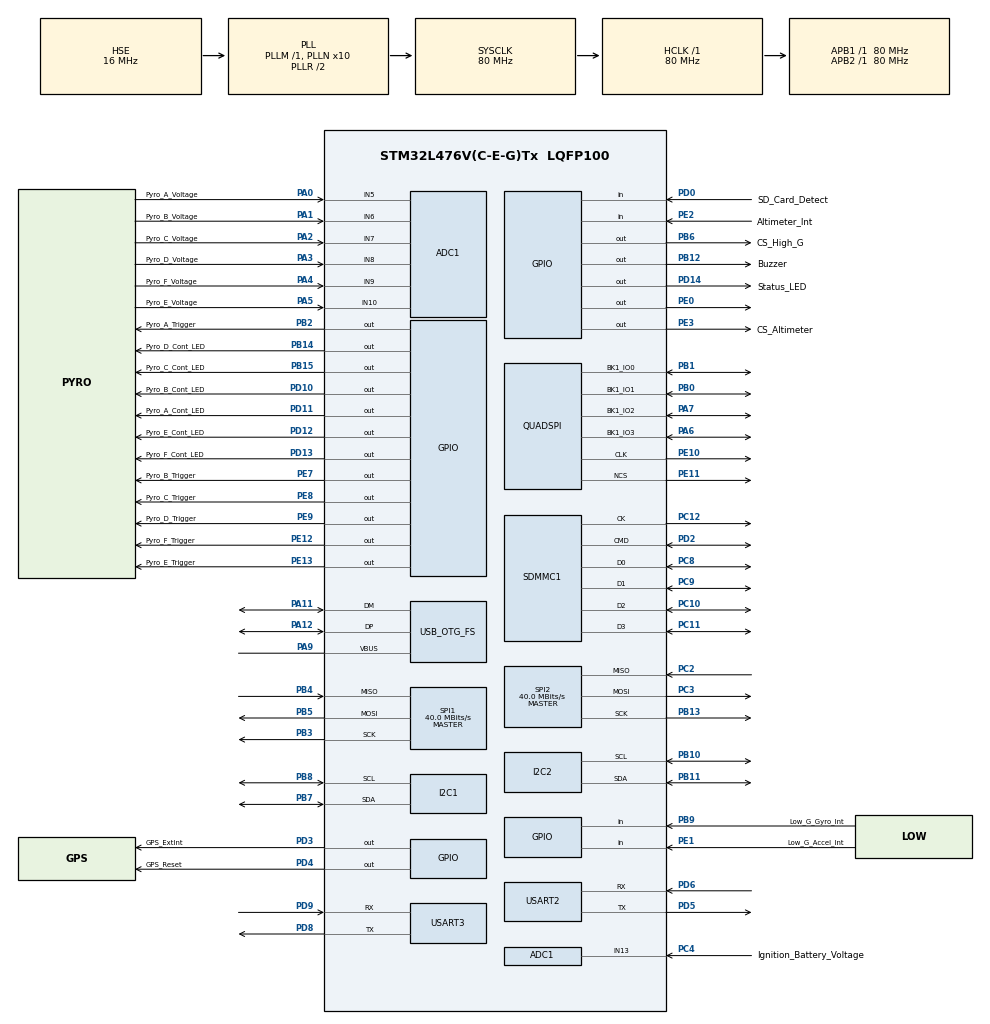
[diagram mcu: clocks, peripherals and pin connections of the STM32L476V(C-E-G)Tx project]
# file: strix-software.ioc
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ADC1.Channel-1\#ChannelRegularConversion=ADC_CHANNEL_5
ADC1.NbrOfConversionFlag=1
ADC1.OffsetNumber-1\#ChannelRegularConversion=ADC_OFFSET_NONE
ADC1.Rank-1\#ChannelRegularConversion=1
ADC1.SamplingTime-1\#ChannelRegularConversion=ADC_SAMPLETIME_2CYCLES_5
ADC1.master=1
FATFS.BSP.number=1
FATFS0.BSP.STBoard=false
FATFS0.BSP.api=Unknown
FATFS0.BSP.instance=PD0
FATFS0.BSP.ip=GPIO
FATFS0.BSP.mode=Input
FATFS0.BSP.name=Detect_SDIO
FATFS0.BSP.solution=PD0
FREERTOS.Tasks01=Status,16,128,StartStatus,Default,NULL,Dynamic,NULL,NULL;USBCom,24,128,StartUSBCom,Default,NULL,Dynamic,NULL,NULL
FREERTOS.configUSE_NEWLIB_REENTRANT=1
I2C1.Timing=0x10909CEC
I2C2.Timing=0x10909CEC
Mcu.Family=STM32L4
Mcu.Name=STM32L476V(C-E-G)Tx
Mcu.Package=LQFP100
NVIC.OTG_FS_IRQn=true\:5\:0\:false\:false\:true\:true\:false\:true\:true
NVIC.PriorityGroup=NVIC_PRIORITYGROUP_4
NVIC.TIM6_DAC_IRQn=true\:15\:0\:false\:false\:true\:false\:false\:true\:true
NVIC.TimeBase=TIM6_DAC_IRQn
NVIC.TimeBaseIP=TIM6
PA0.GPIO_Label=Pyro_A_Voltage
PA0.Signal=ADCx_IN5
PA1.GPIO_Label=Pyro_B_Voltage
PA1.Signal=ADCx_IN6
PA11.Mode=Device_Only
PA11.Signal=USB_OTG_FS_DM
PA12.Mode=Device_Only
PA12.Signal=USB_OTG_FS_DP
PA13\ (JTMS-SWDIO).Mode=Serial_Wire
PA13\ (JTMS-SWDIO).Signal=SYS_JTMS-SWDIO
PA14\ (JTCK-SWCLK).Mode=Serial_Wire
PA14\ (JTCK-SWCLK).Signal=SYS_JTCK-SWCLK
PA2.GPIO_Label=Pyro_C_Voltage
PA2.Signal=ADCx_IN7
PA3.GPIO_Label=Pyro_D_Voltage
PA3.Signal=ADCx_IN8
PA4.GPIO_Label=Pyro_F_Voltage
PA4.Signal=ADCx_IN9
PA5.GPIO_Label=Pyro_E_Voltage
PA5.Signal=ADCx_IN10
PA6.Mode=Single Bank
PA6.Signal=QUADSPI_BK1_IO3
PA7.Mode=Single Bank
PA7.Signal=QUADSPI_BK1_IO2
PA9.Mode=Activate_VBUS
PA9.Signal=USB_OTG_FS_VBUS
PB0.Mode=Single Bank
PB0.Signal=QUADSPI_BK1_IO1
PB1.Mode=Single Bank
PB1.Signal=QUADSPI_BK1_IO0
PB10.Mode=I2C
PB10.Signal=I2C2_SCL
PB11.Mode=I2C
PB11.Signal=I2C2_SDA
PB12.GPIO_Label=Buzzer
PB12.Signal=GPIO_Output
PB13.Mode=Full_Duplex_Master
PB13.Signal=SPI2_SCK
PB14.GPIO_Label=Pyro_D_Cont_LED
PB14.Signal=GPIO_Output
PB15.GPIO_Label=Pyro_C_Cont_LED
PB15.Signal=GPIO_Output
PB2.GPIO_Label=Pyro_A_Trigger
PB2.Signal=GPIO_Output
PB3\ (JTDO-TRACESWO).Mode=Full_Duplex_Master
PB3\ (JTDO-TRACESWO).Signal=SPI1_SCK
PB4\ (NJTRST).Mode=Full_Duplex_Master
PB4\ (NJTRST).Signal=SPI1_MISO
PB5.Mode=Full_Duplex_Master
PB5.Signal=SPI1_MOSI
PB6.GPIO_Label=CS_High_G
PB6.Signal=GPIO_Output
PB7.Mode=I2C
PB7.Signal=I2C1_SDA
PB8.Mode=I2C
PB8.Signal=I2C1_SCL
PB9.GPIO_Label=Low_G_Gyro_Int
PB9.Signal=GPIO_Input
PC10.Mode=SD_4_bits_Wide_bus
PC10.Signal=SDMMC1_D2
PC11.Mode=SD_4_bits_Wide_bus
PC11.Signal=SDMMC1_D3
PC12.Mode=SD_4_bits_Wide_bus
PC12.Signal=SDMMC1_CK
PC2.Mode=Full_Duplex_Master
PC2.Signal=SPI2_MISO
PC3.Mode=Full_Duplex_Master
PC3.Signal=SPI2_MOSI
PC4.GPIO_Label=Ignition_Battery_Voltage
PC4.Signal=ADCx_IN13
PC8.Mode=SD_4_bits_Wide_bus
PC8.Signal=SDMMC1_D0
PC9.Mode=SD_4_bits_Wide_bus
PC9.Signal=SDMMC1_D1
PD0.GPIO_Label=SD_Card_Detect
PD0.Signal=GPIO_Input
PD10.GPIO_Label=Pyro_B_Cont_LED
PD10.Signal=GPIO_Output
PD11.GPIO_Label=Pyro_A_Cont_LED
PD11.Signal=GPIO_Output
PD12.GPIO_Label=Pyro_E_Cont_LED
PD12.Signal=GPIO_Output
PD13.GPIO_Label=Pyro_F_Cont_LED
PD13.Signal=GPIO_Output
PD14.GPIO_Label=Status_LED
PD14.GPIO_PuPd=GPIO_PULLDOWN
PD14.PinState=GPIO_PIN_SET
PD14.Signal=GPIO_Output
PD2.Mode=SD_4_bits_Wide_bus
PD2.Signal=SDMMC1_CMD
PD3.GPIO_Label=GPS_ExtInt
PD3.Signal=GPIO_Output
PD4.GPIO_Label=GPS_Reset
PD4.Signal=GPIO_Output
PD5.Mode=Asynchronous
PD5.Signal=USART2_TX
PD6.Mode=Asynchronous
PD6.Signal=USART2_RX
PD8.Mode=Asynchronous
PD8.Signal=USART3_TX
PD9.Mode=Asynchronous
PD9.Signal=USART3_RX
PE0.Signal=GPIO_Output
PE1.GPIO_Label=Low_G_Accel_Int
PE1.Signal=GPIO_Input
PE10.Mode=Single Bank
PE10.Signal=QUADSPI_CLK
PE11.Mode=Single Bank
PE11.Signal=QUADSPI_NCS
PE12.GPIO_Label=Pyro_F_Trigger
PE12.Signal=GPIO_Output
PE13.GPIO_Label=Pyro_E_Trigger
PE13.Signal=GPIO_Output
PE2.GPIO_Label=Altimeter_Int
PE2.Signal=GPIO_Input
PE3.GPIO_Label=CS_Altimeter
PE3.Signal=GPIO_Output
PE7.GPIO_Label=Pyro_B_Trigger
PE7.Signal=GPIO_Output
PE8.GPIO_Label=Pyro_C_Trigger
PE8.Signal=GPIO_Output
PE9.GPIO_Label=Pyro_D_Trigger
PE9.Signal=GPIO_Output
PH0-OSC_IN\ (PH0).Mode=HSE-External-Oscillator
PH0-OSC_IN\ (PH0).Signal=RCC_OSC_IN
PH1-OSC_OUT\ (PH1).Mode=HSE-External-Oscillator
PH1-OSC_OUT\ (PH1).Signal=RCC_OSC_OUT
ProjectManager.HeapSize=0x200
ProjectManager.StackSize=0x400
ProjectManager.TargetToolchain=STM32CubeIDE
RCC.ADCFreq_Value=48000000
RCC.AHBFreq_Value=80000000
RCC.APB1Freq_Value=80000000
RCC.APB1TimFreq_Value=80000000
RCC.APB2Freq_Value=80000000
RCC.APB2TimFreq_Value=80000000
RCC.CortexFreq_Value=80000000
RCC.HCLKFreq_Value=80000000
RCC.HSE_VALUE=16000000
RCC.HSI_VALUE=16000000
RCC.LSE_VALUE=32768
RCC.MSI_VALUE=4000000
RCC.PLLN=10
RCC.PLLSAI1N=12
RCC.PLLSAI1Q=RCC_PLLQ_DIV4
RCC.PLLSAI1R=RCC_PLLR_DIV4
RCC.PLLSourceVirtual=RCC_PLLSOURCE_HSE
RCC.SYSCLKFreq_VALUE=80000000
RCC.SYSCLKSource=RCC_SYSCLKSOURCE_PLLCLK
RCC.USBFreq_Value=48000000
RCC.VCOOutputFreq_Value=160000000
SH.ADCx_IN10.0=ADC1_IN10,IN10-Single-Ended
SH.ADCx_IN13.0=ADC1_IN13,IN13-Single-Ended
SH.ADCx_IN5.0=ADC1_IN5,IN5-Single-Ended
SH.ADCx_IN6.0=ADC1_IN6,IN6-Single-Ended
SH.ADCx_IN7.0=ADC1_IN7,IN7-Single-Ended
SH.ADCx_IN8.0=ADC1_IN8,IN8-Single-Ended
SH.ADCx_IN9.0=ADC1_IN9,IN9-Single-Ended
SPI1.BaudRatePrescaler=SPI_BAUDRATEPRESCALER_2
SPI1.CalculateBaudRate=40.0 MBits/s
SPI1.Direction=SPI_DIRECTION_2LINES
SPI1.Mode=SPI_MODE_MASTER
SPI1.VirtualType=VM_MASTER
SPI2.BaudRatePrescaler=SPI_BAUDRATEPRESCALER_2
SPI2.CalculateBaudRate=40.0 MBits/s
SPI2.Direction=SPI_DIRECTION_2LINES
SPI2.Mode=SPI_MODE_MASTER
SPI2.VirtualType=VM_MASTER
USART2.VirtualMode-Asynchronous=VM_ASYNC
USART3.VirtualMode-Asynchronous=VM_ASYNC
USB_DEVICE.CLASS_NAME_FS=CDC
USB_DEVICE.VirtualMode=Cdc
USB_DEVICE.VirtualModeFS=Cdc_FS
USB_OTG_FS.VirtualMode=Device_Only
VP_FATFS_VS_SDIO.Mode=SDIO
VP_FREERTOS_VS_CMSIS_V2.Mode=CMSIS_V2
VP_SYS_VS_tim6.Mode=TIM6
VP_USB_DEVICE_VS_USB_DEVICE_CDC_FS.Mode=CDC_FS
board=custom

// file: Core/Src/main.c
/* USER CODE BEGIN Header */
/**
  ******************************************************************************
  * @file           : main.c
  * @brief          : Main program body
  ******************************************************************************
  * @attention
  *
  * Copyright (c) 2023 STMicroelectronics.
  * All rights reserved.
  *
  * This software is licensed under terms that can be found in the LICENSE file
  * in the root directory of this software component.
  * If no LICENSE file comes with this software, it is provided AS-IS.
  *
  ******************************************************************************
  */
/* USER CODE END Header */
#include "main.h"
#include "cmsis_os.h"
#include "fatfs.h"
#include "usb_device.h"

/* USER CODE BEGIN Includes */
#include "usbd_cdc_if.h"
#include "string.h"
#include "stdbool.h"
//include driver files for our sensors and data storage
#include "flash_driver.h"
#include "file_handling.h"
/* USER CODE END Includes */

ADC_HandleTypeDef hadc1;

I2C_HandleTypeDef hi2c1;
I2C_HandleTypeDef hi2c2;

QSPI_HandleTypeDef hqspi;

SD_HandleTypeDef hsd1;

SPI_HandleTypeDef hspi1;
SPI_HandleTypeDef hspi2;

UART_HandleTypeDef huart2;
UART_HandleTypeDef huart3;

/* Definitions for Status */
osThreadId_t StatusHandle;
const osThreadAttr_t Status_attributes = {
  .name = "Status",
  .stack_size = 128 * 4,
  .priority = (osPriority_t) osPriorityBelowNormal,
};
/* Definitions for USBCom */
osThreadId_t USBComHandle;
const osThreadAttr_t USBCom_attributes = {
  .name = "USBCom",
  .stack_size = 128 * 4,
  .priority = (osPriority_t) osPriorityNormal,
};

void SystemClock_Config(void);
void PeriphCommonClock_Config(void);
static void MX_GPIO_Init(void);
static void MX_QUADSPI_Init(void);
static void MX_SDMMC1_SD_Init(void);
static void MX_SPI1_Init(void);
static void MX_ADC1_Init(void);
static void MX_I2C1_Init(void);
static void MX_I2C2_Init(void);
static void MX_SPI2_Init(void);
static void MX_USART2_UART_Init(void);
static void MX_USART3_UART_Init(void);
void StartStatus(void *argument);
void StartUSBCom(void *argument);

int main(void)
{

  /* MCU Configuration--------------------------------------------------------*/

  /* Reset of all peripherals, Initializes the Flash interface and the Systick. */
  HAL_Init();

  /* Configure the system clock */
  SystemClock_Config();

/* Configure the peripherals common clocks */
  PeriphCommonClock_Config();

  /* Initialize all configured peripherals */
  MX_GPIO_Init();
  MX_QUADSPI_Init();
  MX_SDMMC1_SD_Init();
  MX_SPI1_Init();
  MX_ADC1_Init();
  MX_I2C1_Init();
  MX_I2C2_Init();
  MX_SPI2_Init();
  MX_USART2_UART_Init();
  MX_USART3_UART_Init();
  MX_FATFS_Init();
  /* USER CODE BEGIN 2 */
  /* init code for USB_DEVICE */
  MX_USB_DEVICE_Init();

  /* USER CODE END 2 */

  /* Init scheduler */
  osKernelInitialize();

  /* Create the thread(s) */
  /* creation of Status */
  StatusHandle = osThreadNew(StartStatus, NULL, &Status_attributes);

  /* creation of USBCom */
  USBComHandle = osThreadNew(StartUSBCom, NULL, &USBCom_attributes);

  /* Start scheduler */
  osKernelStart();

  /* We should never get here as control is now taken by the scheduler */
  /* Infinite loop */
  while (1)
  {

  }
}

void SystemClock_Config(void)
{
  RCC_OscInitTypeDef RCC_OscInitStruct = {0};
  RCC_ClkInitTypeDef RCC_ClkInitStruct = {0};

  /** Configure the main internal regulator output voltage
  */
  if (HAL_PWREx_ControlVoltageScaling(PWR_REGULATOR_VOLTAGE_SCALE1) != HAL_OK)
  {
    Error_Handler();
  }

  /** Initializes the RCC Oscillators according to the specified parameters
  * in the RCC_OscInitTypeDef structure.
  */
  RCC_OscInitStruct.OscillatorType = RCC_OSCILLATORTYPE_HSE;
  RCC_OscInitStruct.HSEState = RCC_HSE_ON;
  RCC_OscInitStruct.PLL.PLLState = RCC_PLL_ON;
  RCC_OscInitStruct.PLL.PLLSource = RCC_PLLSOURCE_HSE;
  RCC_OscInitStruct.PLL.PLLM = 1;
  RCC_OscInitStruct.PLL.PLLN = 10;
  RCC_OscInitStruct.PLL.PLLP = RCC_PLLP_DIV7;
  RCC_OscInitStruct.PLL.PLLQ = RCC_PLLQ_DIV2;
  RCC_OscInitStruct.PLL.PLLR = RCC_PLLR_DIV2;
  if (HAL_RCC_OscConfig(&RCC_OscInitStruct) != HAL_OK)
  {
    Error_Handler();
  }

  /** Initializes the CPU, AHB and APB buses clocks
  */
  RCC_ClkInitStruct.ClockType = RCC_CLOCKTYPE_HCLK|RCC_CLOCKTYPE_SYSCLK
                              |RCC_CLOCKTYPE_PCLK1|RCC_CLOCKTYPE_PCLK2;
  RCC_ClkInitStruct.SYSCLKSource = RCC_SYSCLKSOURCE_PLLCLK;
  RCC_ClkInitStruct.AHBCLKDivider = RCC_SYSCLK_DIV1;
  RCC_ClkInitStruct.APB1CLKDivider = RCC_HCLK_DIV1;
  RCC_ClkInitStruct.APB2CLKDivider = RCC_HCLK_DIV1;

  if (HAL_RCC_ClockConfig(&RCC_ClkInitStruct, FLASH_LATENCY_4) != HAL_OK)
  {
    Error_Handler();
  }
}

void PeriphCommonClock_Config(void)
{
  RCC_PeriphCLKInitTypeDef PeriphClkInit = {0};

  /** Initializes the peripherals clock
  */
  PeriphClkInit.PeriphClockSelection = RCC_PERIPHCLK_USB|RCC_PERIPHCLK_SDMMC1
                              |RCC_PERIPHCLK_ADC;
  PeriphClkInit.AdcClockSelection = RCC_ADCCLKSOURCE_PLLSAI1;
  PeriphClkInit.UsbClockSelection = RCC_USBCLKSOURCE_PLLSAI1;
  PeriphClkInit.Sdmmc1ClockSelection = RCC_SDMMC1CLKSOURCE_PLLSAI1;
  PeriphClkInit.PLLSAI1.PLLSAI1Source = RCC_PLLSOURCE_HSE;
  PeriphClkInit.PLLSAI1.PLLSAI1M = 1;
  PeriphClkInit.PLLSAI1.PLLSAI1N = 12;
  PeriphClkInit.PLLSAI1.PLLSAI1P = RCC_PLLP_DIV7;
  PeriphClkInit.PLLSAI1.PLLSAI1Q = RCC_PLLQ_DIV4;
  PeriphClkInit.PLLSAI1.PLLSAI1R = RCC_PLLR_DIV4;
  PeriphClkInit.PLLSAI1.PLLSAI1ClockOut = RCC_PLLSAI1_48M2CLK|RCC_PLLSAI1_ADC1CLK;
  if (HAL_RCCEx_PeriphCLKConfig(&PeriphClkInit) != HAL_OK)
  {
    Error_Handler();
  }
}

static void MX_ADC1_Init(void)
{

  ADC_MultiModeTypeDef multimode = {0};
  ADC_ChannelConfTypeDef sConfig = {0};

  /** Common config
  */
  hadc1.Instance = ADC1;
  hadc1.Init.ClockPrescaler = ADC_CLOCK_ASYNC_DIV1;
  hadc1.Init.Resolution = ADC_RESOLUTION_12B;
  hadc1.Init.DataAlign = ADC_DATAALIGN_RIGHT;
  hadc1.Init.ScanConvMode = ADC_SCAN_DISABLE;
  hadc1.Init.EOCSelection = ADC_EOC_SINGLE_CONV;
  hadc1.Init.LowPowerAutoWait = DISABLE;
  hadc1.Init.ContinuousConvMode = DISABLE;
  hadc1.Init.NbrOfConversion = 1;
  hadc1.Init.DiscontinuousConvMode = DISABLE;
  hadc1.Init.ExternalTrigConv = ADC_SOFTWARE_START;
  hadc1.Init.ExternalTrigConvEdge = ADC_EXTERNALTRIGCONVEDGE_NONE;
  hadc1.Init.DMAContinuousRequests = DISABLE;
  hadc1.Init.Overrun = ADC_OVR_DATA_PRESERVED;
  hadc1.Init.OversamplingMode = DISABLE;
  if (HAL_ADC_Init(&hadc1) != HAL_OK)
  {
    Error_Handler();
  }

  /** Configure the ADC multi-mode
  */
  multimode.Mode = ADC_MODE_INDEPENDENT;
  if (HAL_ADCEx_MultiModeConfigChannel(&hadc1, &multimode) != HAL_OK)
  {
    Error_Handler();
  }

  /** Configure Regular Channel
  */
  sConfig.Channel = ADC_CHANNEL_5;
  sConfig.Rank = ADC_REGULAR_RANK_1;
  sConfig.SamplingTime = ADC_SAMPLETIME_2CYCLES_5;
  sConfig.SingleDiff = ADC_SINGLE_ENDED;
  sConfig.OffsetNumber = ADC_OFFSET_NONE;
  sConfig.Offset = 0;
  if (HAL_ADC_ConfigChannel(&hadc1, &sConfig) != HAL_OK)
  {
    Error_Handler();
  }

}

static void MX_I2C1_Init(void)
{

  hi2c1.Instance = I2C1;
  hi2c1.Init.Timing = 0x10909CEC;
  hi2c1.Init.OwnAddress1 = 0;
  hi2c1.Init.AddressingMode = I2C_ADDRESSINGMODE_7BIT;
  hi2c1.Init.DualAddressMode = I2C_DUALADDRESS_DISABLE;
  hi2c1.Init.OwnAddress2 = 0;
  hi2c1.Init.OwnAddress2Masks = I2C_OA2_NOMASK;
  hi2c1.Init.GeneralCallMode = I2C_GENERALCALL_DISABLE;
  hi2c1.Init.NoStretchMode = I2C_NOSTRETCH_DISABLE;
  if (HAL_I2C_Init(&hi2c1) != HAL_OK)
  {
    Error_Handler();
  }

  /** Configure Analogue filter
  */
  if (HAL_I2CEx_ConfigAnalogFilter(&hi2c1, I2C_ANALOGFILTER_ENABLE) != HAL_OK)
  {
    Error_Handler();
  }

  /** Configure Digital filter
  */
  if (HAL_I2CEx_ConfigDigitalFilter(&hi2c1, 0) != HAL_OK)
  {
    Error_Handler();
  }

}

static void MX_I2C2_Init(void)
{

  hi2c2.Instance = I2C2;
  hi2c2.Init.Timing = 0x10909CEC;
  hi2c2.Init.OwnAddress1 = 0;
  hi2c2.Init.AddressingMode = I2C_ADDRESSINGMODE_7BIT;
  hi2c2.Init.DualAddressMode = I2C_DUALADDRESS_DISABLE;
  hi2c2.Init.OwnAddress2 = 0;
  hi2c2.Init.OwnAddress2Masks = I2C_OA2_NOMASK;
  hi2c2.Init.GeneralCallMode = I2C_GENERALCALL_DISABLE;
  hi2c2.Init.NoStretchMode = I2C_NOSTRETCH_DISABLE;
  if (HAL_I2C_Init(&hi2c2) != HAL_OK)
  {
    Error_Handler();
  }

  /** Configure Analogue filter
  */
  if (HAL_I2CEx_ConfigAnalogFilter(&hi2c2, I2C_ANALOGFILTER_ENABLE) != HAL_OK)
  {
    Error_Handler();
  }

  /** Configure Digital filter
  */
  if (HAL_I2CEx_ConfigDigitalFilter(&hi2c2, 0) != HAL_OK)
  {
    Error_Handler();
  }

}

static void MX_QUADSPI_Init(void)
{

  /* QUADSPI parameter configuration*/
  hqspi.Instance = QUADSPI;
  hqspi.Init.ClockPrescaler = 255;
  hqspi.Init.FifoThreshold = 1;
  hqspi.Init.SampleShifting = QSPI_SAMPLE_SHIFTING_NONE;
  hqspi.Init.FlashSize = 1;
  hqspi.Init.ChipSelectHighTime = QSPI_CS_HIGH_TIME_1_CYCLE;
  hqspi.Init.ClockMode = QSPI_CLOCK_MODE_0;
  if (HAL_QSPI_Init(&hqspi) != HAL_OK)
  {
    Error_Handler();
  }

}

static void MX_SDMMC1_SD_Init(void)
{

  hsd1.Instance = SDMMC1;
  hsd1.Init.ClockEdge = SDMMC_CLOCK_EDGE_RISING;
  hsd1.Init.ClockBypass = SDMMC_CLOCK_BYPASS_DISABLE;
  hsd1.Init.ClockPowerSave = SDMMC_CLOCK_POWER_SAVE_DISABLE;
  hsd1.Init.BusWide = SDMMC_BUS_WIDE_4B;
  hsd1.Init.HardwareFlowControl = SDMMC_HARDWARE_FLOW_CONTROL_DISABLE;
  hsd1.Init.ClockDiv = 0;

}

static void MX_SPI1_Init(void)
{

  /* SPI1 parameter configuration*/
  hspi1.Instance = SPI1;
  hspi1.Init.Mode = SPI_MODE_MASTER;
  hspi1.Init.Direction = SPI_DIRECTION_2LINES;
  hspi1.Init.DataSize = SPI_DATASIZE_4BIT;
  hspi1.Init.CLKPolarity = SPI_POLARITY_LOW;
  hspi1.Init.CLKPhase = SPI_PHASE_1EDGE;
  hspi1.Init.NSS = SPI_NSS_SOFT;
  hspi1.Init.BaudRatePrescaler = SPI_BAUDRATEPRESCALER_2;
  hspi1.Init.FirstBit = SPI_FIRSTBIT_MSB;
  hspi1.Init.TIMode = SPI_TIMODE_DISABLE;
  hspi1.Init.CRCCalculation = SPI_CRCCALCULATION_DISABLE;
  hspi1.Init.CRCPolynomial = 7;
  hspi1.Init.CRCLength = SPI_CRC_LENGTH_DATASIZE;
  hspi1.Init.NSSPMode = SPI_NSS_PULSE_ENABLE;
  if (HAL_SPI_Init(&hspi1) != HAL_OK)
  {
    Error_Handler();
  }

}

static void MX_SPI2_Init(void)
{

  /* SPI2 parameter configuration*/
  hspi2.Instance = SPI2;
  hspi2.Init.Mode = SPI_MODE_MASTER;
  hspi2.Init.Direction = SPI_DIRECTION_2LINES;
  hspi2.Init.DataSize = SPI_DATASIZE_4BIT;
  hspi2.Init.CLKPolarity = SPI_POLARITY_LOW;
  hspi2.Init.CLKPhase = SPI_PHASE_1EDGE;
  hspi2.Init.NSS = SPI_NSS_SOFT;
  hspi2.Init.BaudRatePrescaler = SPI_BAUDRATEPRESCALER_2;
  hspi2.Init.FirstBit = SPI_FIRSTBIT_MSB;
  hspi2.Init.TIMode = SPI_TIMODE_DISABLE;
  hspi2.Init.CRCCalculation = SPI_CRCCALCULATION_DISABLE;
  hspi2.Init.CRCPolynomial = 7;
  hspi2.Init.CRCLength = SPI_CRC_LENGTH_DATASIZE;
  hspi2.Init.NSSPMode = SPI_NSS_PULSE_ENABLE;
  if (HAL_SPI_Init(&hspi2) != HAL_OK)
  {
    Error_Handler();
  }

}

static void MX_USART2_UART_Init(void)
{

  huart2.Instance = USART2;
  huart2.Init.BaudRate = 115200;
  huart2.Init.WordLength = UART_WORDLENGTH_8B;
  huart2.Init.StopBits = UART_STOPBITS_1;
  huart2.Init.Parity = UART_PARITY_NONE;
  huart2.Init.Mode = UART_MODE_TX_RX;
  huart2.Init.HwFlowCtl = UART_HWCONTROL_NONE;
  huart2.Init.OverSampling = UART_OVERSAMPLING_16;
  huart2.Init.OneBitSampling = UART_ONE_BIT_SAMPLE_DISABLE;
  huart2.AdvancedInit.AdvFeatureInit = UART_ADVFEATURE_NO_INIT;
  if (HAL_UART_Init(&huart2) != HAL_OK)
  {
    Error_Handler();
  }

}

static void MX_USART3_UART_Init(void)
{

  huart3.Instance = USART3;
  huart3.Init.BaudRate = 115200;
  huart3.Init.WordLength = UART_WORDLENGTH_8B;
  huart3.Init.StopBits = UART_STOPBITS_1;
  huart3.Init.Parity = UART_PARITY_NONE;
  huart3.Init.Mode = UART_MODE_TX_RX;
  huart3.Init.HwFlowCtl = UART_HWCONTROL_NONE;
  huart3.Init.OverSampling = UART_OVERSAMPLING_16;
  huart3.Init.OneBitSampling = UART_ONE_BIT_SAMPLE_DISABLE;
  huart3.AdvancedInit.AdvFeatureInit = UART_ADVFEATURE_NO_INIT;
  if (HAL_UART_Init(&huart3) != HAL_OK)
  {
    Error_Handler();
  }

}

static void MX_GPIO_Init(void)
{
  GPIO_InitTypeDef GPIO_InitStruct = {0};

  /* GPIO Ports Clock Enable */
  __HAL_RCC_GPIOE_CLK_ENABLE();
  __HAL_RCC_GPIOH_CLK_ENABLE();
  __HAL_RCC_GPIOC_CLK_ENABLE();
  __HAL_RCC_GPIOA_CLK_ENABLE();
  __HAL_RCC_GPIOB_CLK_ENABLE();
  __HAL_RCC_GPIOD_CLK_ENABLE();

  /*Configure GPIO pin Output Level */
  HAL_GPIO_WritePin(GPIOE, CS_Altimeter_Pin|Pyro_B_Trigger_Pin|Pyro_C_Trigger_Pin|Pyro_D_Trigger_Pin
                          |Pyro_F_Trigger_Pin|Pyro_E_Trigger_Pin|GPIO_PIN_0, GPIO_PIN_RESET);

  /*Configure GPIO pin Output Level */
  HAL_GPIO_WritePin(GPIOB, Pyro_A_Trigger_Pin|Buzzer_Pin|Pyro_D_Cont_LED_Pin|Pyro_C_Cont_LED_Pin
                          |CS_High_G_Pin, GPIO_PIN_RESET);

  /*Configure GPIO pin Output Level */
  HAL_GPIO_WritePin(GPIOD, Pyro_B_Cont_LED_Pin|Pyro_A_Cont_LED_Pin|Pyro_E_Cont_LED_Pin|Pyro_F_Cont_LED_Pin
                          |GPS_ExtInt_Pin|GPS_Reset_Pin, GPIO_PIN_RESET);

  /*Configure GPIO pin Output Level */
  HAL_GPIO_WritePin(Status_LED_GPIO_Port, Status_LED_Pin, GPIO_PIN_SET);

  /*Configure GPIO pins : Altimeter_Int_Pin Low_G_Accel_Int_Pin */
  GPIO_InitStruct.Pin = Altimeter_Int_Pin|Low_G_Accel_Int_Pin;
  GPIO_InitStruct.Mode = GPIO_MODE_INPUT;
  GPIO_InitStruct.Pull = GPIO_NOPULL;
  HAL_GPIO_Init(GPIOE, &GPIO_InitStruct);

  /*Configure GPIO pins : CS_Altimeter_Pin Pyro_B_Trigger_Pin Pyro_C_Trigger_Pin Pyro_D_Trigger_Pin
                           Pyro_F_Trigger_Pin Pyro_E_Trigger_Pin PE0 */
  GPIO_InitStruct.Pin = CS_Altimeter_Pin|Pyro_B_Trigger_Pin|Pyro_C_Trigger_Pin|Pyro_D_Trigger_Pin
                          |Pyro_F_Trigger_Pin|Pyro_E_Trigger_Pin|GPIO_PIN_0;
  GPIO_InitStruct.Mode = GPIO_MODE_OUTPUT_PP;
  GPIO_InitStruct.Pull = GPIO_NOPULL;
  GPIO_InitStruct.Speed = GPIO_SPEED_FREQ_LOW;
  HAL_GPIO_Init(GPIOE, &GPIO_InitStruct);

  /*Configure GPIO pins : Pyro_A_Trigger_Pin Buzzer_Pin Pyro_D_Cont_LED_Pin Pyro_C_Cont_LED_Pin
                           CS_High_G_Pin */
  GPIO_InitStruct.Pin = Pyro_A_Trigger_Pin|Buzzer_Pin|Pyro_D_Cont_LED_Pin|Pyro_C_Cont_LED_Pin
                          |CS_High_G_Pin;
  GPIO_InitStruct.Mode = GPIO_MODE_OUTPUT_PP;
  GPIO_InitStruct.Pull = GPIO_NOPULL;
  GPIO_InitStruct.Speed = GPIO_SPEED_FREQ_LOW;
  HAL_GPIO_Init(GPIOB, &GPIO_InitStruct);

  /*Configure GPIO pins : Pyro_B_Cont_LED_Pin Pyro_A_Cont_LED_Pin Pyro_E_Cont_LED_Pin Pyro_F_Cont_LED_Pin
                           GPS_ExtInt_Pin GPS_Reset_Pin */
  GPIO_InitStruct.Pin = Pyro_B_Cont_LED_Pin|Pyro_A_Cont_LED_Pin|Pyro_E_Cont_LED_Pin|Pyro_F_Cont_LED_Pin
                          |GPS_ExtInt_Pin|GPS_Reset_Pin;
  GPIO_InitStruct.Mode = GPIO_MODE_OUTPUT_PP;
  GPIO_InitStruct.Pull = GPIO_NOPULL;
  GPIO_InitStruct.Speed = GPIO_SPEED_FREQ_LOW;
  HAL_GPIO_Init(GPIOD, &GPIO_InitStruct);

  /*Configure GPIO pin : Status_LED_Pin */
  GPIO_InitStruct.Pin = Status_LED_Pin;
  GPIO_InitStruct.Mode = GPIO_MODE_OUTPUT_PP;
  GPIO_InitStruct.Pull = GPIO_PULLDOWN;
  GPIO_InitStruct.Speed = GPIO_SPEED_FREQ_LOW;
  HAL_GPIO_Init(Status_LED_GPIO_Port, &GPIO_InitStruct);

  /*Configure GPIO pin : SD_Card_Detect_Pin */
  GPIO_InitStruct.Pin = SD_Card_Detect_Pin;
  GPIO_InitStruct.Mode = GPIO_MODE_INPUT;
  GPIO_InitStruct.Pull = GPIO_NOPULL;
  HAL_GPIO_Init(SD_Card_Detect_GPIO_Port, &GPIO_InitStruct);

  /*Configure GPIO pin : Low_G_Gyro_Int_Pin */
  GPIO_InitStruct.Pin = Low_G_Gyro_Int_Pin;
  GPIO_InitStruct.Mode = GPIO_MODE_INPUT;
  GPIO_InitStruct.Pull = GPIO_NOPULL;
  HAL_GPIO_Init(Low_G_Gyro_Int_GPIO_Port, &GPIO_InitStruct);

}

void StartStatus(void *argument)
{
  /* init code for USB_DEVICE */
  MX_USB_DEVICE_Init();
  /* USER CODE BEGIN 5 */
  uint16_t buzzerCount = 0;
  uint8_t buzzerOn = 1;
  /* Infinite loop */
  for(;;)
  {
	if(buzzerCount < 2500) {
	  if(buzzerOn == 1) {
		HAL_GPIO_TogglePin(Buzzer_GPIO_Port, Buzzer_Pin);
	  }
	  if(buzzerCount % 250 == 0) {
	    buzzerOn = (buzzerOn == 1 ? 0 : 1);
	    HAL_GPIO_TogglePin(Status_LED_GPIO_Port, Status_LED_Pin);
	    HAL_GPIO_TogglePin(Pyro_A_Cont_LED_GPIO_Port, Pyro_A_Cont_LED_Pin);
	    HAL_GPIO_TogglePin(Pyro_B_Cont_LED_GPIO_Port, Pyro_B_Cont_LED_Pin);
	    HAL_GPIO_TogglePin(Pyro_C_Cont_LED_GPIO_Port, Pyro_C_Cont_LED_Pin);
	    HAL_GPIO_TogglePin(Pyro_D_Cont_LED_GPIO_Port, Pyro_D_Cont_LED_Pin);
	    HAL_GPIO_TogglePin(Pyro_E_Cont_LED_GPIO_Port, Pyro_E_Cont_LED_Pin);
	    HAL_GPIO_TogglePin(Pyro_F_Cont_LED_GPIO_Port, Pyro_F_Cont_LED_Pin);
	  }
	  buzzerCount++;
	  osDelay(1);
	} else {
	  HAL_GPIO_TogglePin(Status_LED_GPIO_Port, Status_LED_Pin);
      osDelay(250);
	}
  }
  /* USER CODE END 5 */
}

void StartUSBCom(void *argument)
{
  /* USER CODE BEGIN StartUSBCom */
  char txBuf[7];
  uint8_t count = 1;
  /* Infinite loop */
  for(;;)
  {
	sprintf(txBuf, "%u\r\n", count);
	count++;
	uint8_t result = CDC_Transmit_FS((uint8_t *) txBuf, strlen(txBuf));
	if (count>100) {
	  count = 1;
	}
	if (result == USBD_OK) {
	    HAL_GPIO_TogglePin(Pyro_F_Trigger_GPIO_Port, Pyro_F_Trigger_Pin);
	} else if (result == USBD_BUSY) {
	    HAL_GPIO_TogglePin(Pyro_A_Trigger_GPIO_Port, Pyro_A_Trigger_Pin);
	}

    osDelay(100);
  }
  /* USER CODE END StartUSBCom */
}

void HAL_TIM_PeriodElapsedCallback(TIM_HandleTypeDef *htim)
{
  if (htim->Instance == TIM6) {
    HAL_IncTick();
  }
}

void Error_Handler(void)
{
  __disable_irq();
  while (1)
  {
  }
}
